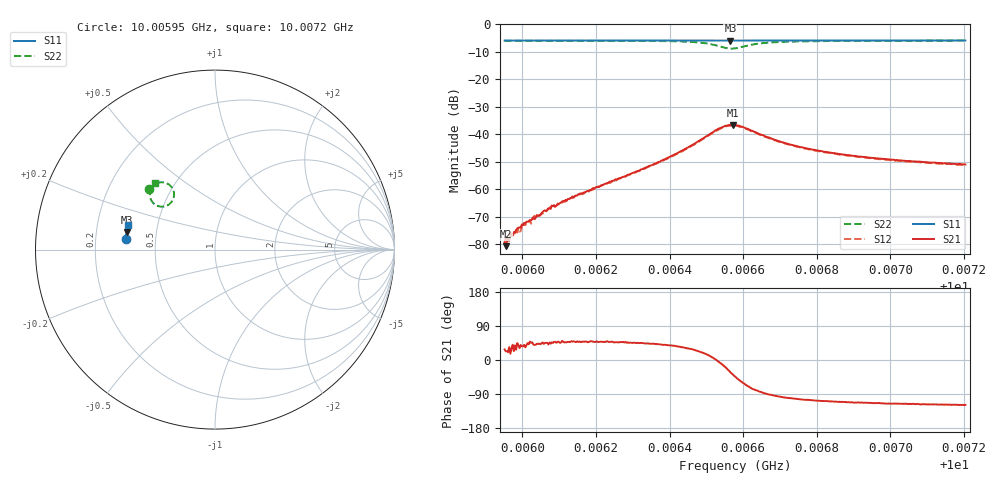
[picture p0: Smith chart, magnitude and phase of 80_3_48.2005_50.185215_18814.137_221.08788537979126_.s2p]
#  HZ  S  RI  R  50.00
! Rohde & Schwarz Vector Network Analyzer
! Rohde-Schwarz,ZNB20-2Port,1311601062101988,3.16
! Created: UTC 3/20/2024, 11:39:39 AM
! freq[Hz]  re:S11  im:S11  re:S21  im:S21  re:S12  im:S12  re:S22  im:S22
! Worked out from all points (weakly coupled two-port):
!   401 points, 10.00595 GHz to 10.0072 GHz, reference 50 ohm
!   highest |S21| = -36.65 dB at 10.00657 GHz (marker M1); lowest = -80.7 dB at 10.00595 GHz (marker M2)
!   lowest |S11| = -6.0 dB at 10.00657 GHz (marker M3), VSWR 3.01, Z = 16.8 + j4.4 ohm
!   |S11| at or under -10 dB: nowhere
!   |S22| runs from -8.9 to -6.0 dB; largest |S21 - S12| = 0.00096
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1.0005951e10  -0.498 0.0594  9.5e-05 5.04e-05  9.58e-05 3.89e-05  -0.3692 0.3349
1.0005955e10  -0.4978 0.0594  8.47e-05 3.59e-05  0.000141 4.12e-05  -0.369 0.3351
1.0005961e10  -0.498 0.0601  0.000115 4.32e-05  0.000126 5.66e-05  -0.3686 0.3355
1.0005992e10  -0.4977 0.062  0.000172 0.000105  0.000137 0.0001  -0.3668 0.3375
1.0006005e10  -0.4976 0.0628  0.000185 0.000155  0.000183 0.00016  -0.3659 0.3384
1.0006033e10  -0.4974 0.0647  0.000217 0.000182  0.000226 0.000238  -0.3642 0.3403
1.0006052e10  -0.4973 0.0658  0.00026 0.000249  0.000252 0.000262  -0.363 0.3417
1.0006074e10  -0.4971 0.0673  0.000307 0.000323  0.000295 0.000358  -0.3615 0.3432
1.0006161e10  -0.4965 0.073  0.000562 0.000618  0.00051 0.000633  -0.3547 0.3498
1.0006371e10  -0.4946 0.0867  0.00234 0.00208  0.00223 0.00213  -0.3256 0.3695
1.0006431e10  -0.4939 0.0906  0.00403 0.00274  0.00381 0.00288  -0.3055 0.3748
1.0006496e10  -0.4928 0.095  0.00842 0.00255  0.0081 0.00287  -0.2616 0.3656
1.0006531e10  -0.4919 0.0969  0.0123 -0.000603  0.0118 1.76e-05  -0.2319 0.3298
1.0006565e10  -0.4913 0.0983  0.0123 -0.00789  0.0124 -0.007  -0.2441 0.2631
1.0006571e10  -0.4915 0.0987  0.0116 -0.009  0.0118 -0.00806  -0.2541 0.2535
1.0006578e10  -0.4915 0.0989  0.0107 -0.0101  0.0109 -0.00917  -0.2655 0.2462
1.0006647e10  -0.4917 0.1032  0.00102 -0.00979  0.00151 -0.00962  -0.3537 0.2721
1.0006712e10  -0.4913 0.1074  -0.00108 -0.00685  -0.000697 -0.00674  -0.3637 0.3083
1.0006787e10  -0.4903 0.1123  -0.00148 -0.00503  -0.0012 -0.00503  -0.3599 0.33
1.0006885e10  -0.4891 0.1187  -0.00152 -0.00387  -0.00129 -0.00385  -0.3532 0.3457
1.0006997e10  -0.4875 0.1258  -0.00149 -0.00315  -0.00126 -0.00315  -0.3456 0.3575
1.0007204e10  -0.4846 0.1388  -0.00134 -0.00246  -0.0012 -0.00246  -0.3334 0.3726
